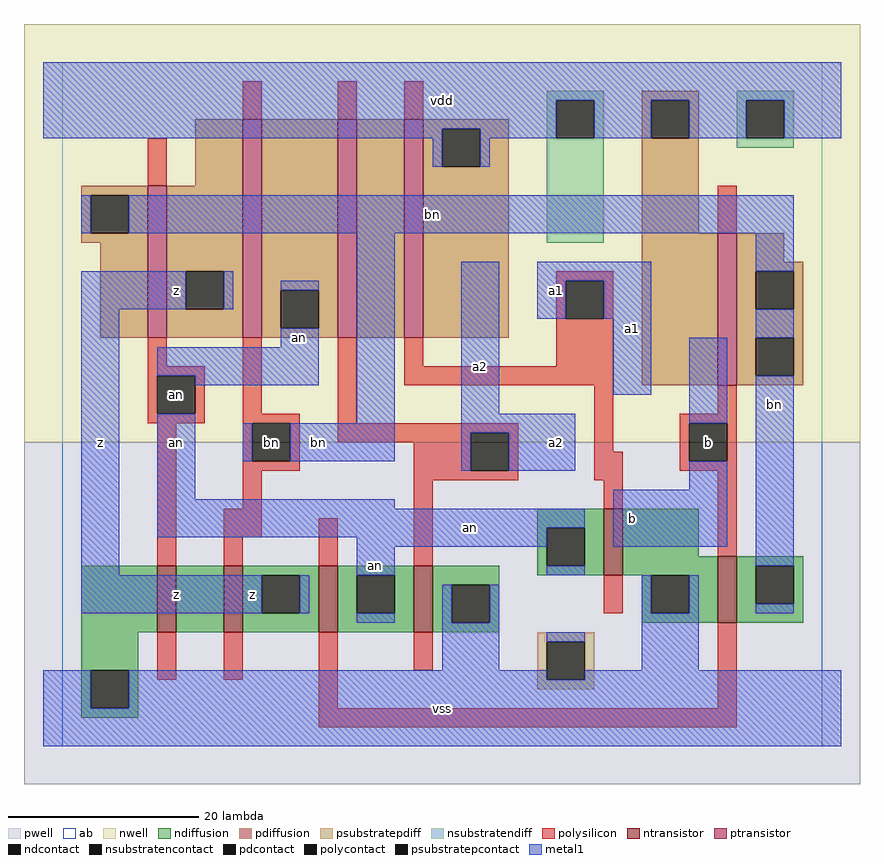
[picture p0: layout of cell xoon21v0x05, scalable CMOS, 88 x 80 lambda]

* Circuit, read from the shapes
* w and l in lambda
.subckt xoon21v0x05 a1 a2 an b bn vdd vss z
M1 n1 an vss vss nfet w=7 l=2
M2 z bn n1 vss nfet w=7 l=2
M3 an b z vss nfet w=7 l=2
M4 vss a2 an vss nfet w=7 l=2
M5 vss a1 an vss nfet w=7 l=2
M6 bn b vss vss nfet w=7 l=2
M7 z an bn vdd pfet w=16 l=2
M8 an bn z vdd pfet w=23 l=2
M9 n2 a2 an vdd pfet w=23 l=2
M10 vdd a1 n2 vdd pfet w=23 l=2
M11 bn b vdd vdd pfet w=16 l=2
.ends

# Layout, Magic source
magic
tech scmos
<< ab >>
rect 0 0 80 72
<< pwell >>
rect -4 -4 84 32
<< nwell >>
rect -4 32 84 76
<< polysilicon >>
rect 19 66 21 70
rect 29 66 31 70
rect 36 66 38 70
rect 9 59 11 64
rect 69 54 71 59
rect 52 49 58 50
rect 52 45 53 49
rect 57 45 58 49
rect 9 40 11 43
rect 9 39 15 40
rect 9 35 10 39
rect 14 35 15 39
rect 9 34 15 35
rect 19 35 21 43
rect 19 34 25 35
rect 10 19 12 34
rect 19 30 20 34
rect 24 30 25 34
rect 29 34 31 43
rect 36 40 38 43
rect 52 40 58 45
rect 36 38 58 40
rect 29 33 48 34
rect 29 32 43 33
rect 19 29 25 30
rect 37 29 43 32
rect 47 29 48 33
rect 19 25 21 29
rect 17 22 21 25
rect 37 28 48 29
rect 56 31 58 38
rect 69 35 71 38
rect 65 34 71 35
rect 56 28 59 31
rect 65 30 66 34
rect 70 30 71 34
rect 65 29 71 30
rect 17 19 19 22
rect 27 19 29 24
rect 37 19 39 28
rect 57 25 59 28
rect 69 20 71 29
rect 57 14 59 18
rect 10 7 12 12
rect 17 7 19 12
rect 27 4 29 12
rect 37 8 39 12
rect 69 4 71 13
rect 27 2 71 4
<< ndiffusion >>
rect 50 23 57 25
rect 50 19 51 23
rect 55 19 57 23
rect 2 12 10 19
rect 12 12 17 19
rect 19 18 27 19
rect 19 14 21 18
rect 25 14 27 18
rect 19 12 27 14
rect 29 18 37 19
rect 29 14 31 18
rect 35 14 37 18
rect 29 12 37 14
rect 39 17 46 19
rect 50 18 57 19
rect 59 20 67 25
rect 59 18 69 20
rect 39 13 41 17
rect 45 13 46 17
rect 61 14 62 18
rect 66 14 69 18
rect 61 13 69 14
rect 71 19 78 20
rect 71 15 73 19
rect 77 15 78 19
rect 71 13 78 15
rect 39 12 46 13
rect 2 8 8 12
rect 2 4 3 8
rect 7 4 8 8
rect 2 3 8 4
<< pdiffusion >>
rect 14 59 19 66
rect 2 58 9 59
rect 2 54 3 58
rect 7 54 9 58
rect 2 53 9 54
rect 4 43 9 53
rect 11 50 19 59
rect 11 46 13 50
rect 17 46 19 50
rect 11 43 19 46
rect 21 48 29 66
rect 21 44 23 48
rect 27 44 29 48
rect 21 43 29 44
rect 31 43 36 66
rect 38 65 47 66
rect 38 61 40 65
rect 44 61 47 65
rect 38 43 47 61
rect 61 68 67 69
rect 61 64 62 68
rect 66 64 67 68
rect 61 54 67 64
rect 61 38 69 54
rect 71 51 76 54
rect 71 50 78 51
rect 71 46 73 50
rect 77 46 78 50
rect 71 43 78 46
rect 71 39 73 43
rect 77 39 78 43
rect 71 38 78 39
<< metal1 >>
rect -2 68 82 72
rect -2 65 52 68
rect -2 64 40 65
rect 39 61 40 64
rect 44 64 52 65
rect 56 64 62 68
rect 66 64 72 68
rect 76 64 82 68
rect 44 61 45 64
rect 2 54 3 58
rect 7 54 77 58
rect 2 46 13 50
rect 17 46 18 50
rect 23 48 27 49
rect 2 18 6 46
rect 23 42 27 44
rect 10 39 27 42
rect 14 38 27 39
rect 10 26 14 35
rect 31 34 35 54
rect 19 30 20 34
rect 24 30 35 34
rect 42 35 46 51
rect 50 49 62 51
rect 50 45 53 49
rect 57 45 62 49
rect 58 37 62 45
rect 73 50 77 54
rect 73 43 77 46
rect 42 33 54 35
rect 42 29 43 33
rect 47 29 54 33
rect 66 34 70 43
rect 66 27 70 30
rect 10 25 35 26
rect 10 23 55 25
rect 10 22 51 23
rect 31 21 51 22
rect 31 18 35 21
rect 58 21 70 27
rect 51 18 55 19
rect 73 19 77 39
rect 2 14 21 18
rect 25 14 26 18
rect 31 13 35 14
rect 40 13 41 17
rect 45 13 46 17
rect 40 8 46 13
rect 61 14 62 18
rect 66 14 67 18
rect 73 14 77 15
rect 51 11 55 12
rect -2 4 3 8
rect 7 7 51 8
rect 61 8 67 14
rect 55 7 82 8
rect 7 4 82 7
rect -2 0 82 4
<< ntransistor >>
rect 10 12 12 19
rect 17 12 19 19
rect 27 12 29 19
rect 37 12 39 19
rect 57 18 59 25
rect 69 13 71 20
<< ptransistor >>
rect 9 43 11 59
rect 19 43 21 66
rect 29 43 31 66
rect 36 43 38 66
rect 69 38 71 54
<< polycontact >>
rect 53 45 57 49
rect 10 35 14 39
rect 20 30 24 34
rect 43 29 47 33
rect 66 30 70 34
<< ndcontact >>
rect 51 19 55 23
rect 21 14 25 18
rect 31 14 35 18
rect 41 13 45 17
rect 62 14 66 18
rect 73 15 77 19
rect 3 4 7 8
<< pdcontact >>
rect 3 54 7 58
rect 13 46 17 50
rect 23 44 27 48
rect 40 61 44 65
rect 62 64 66 68
rect 73 46 77 50
rect 73 39 77 43
<< psubstratepcontact >>
rect 51 7 55 11
<< nsubstratencontact >>
rect 52 64 56 68
rect 72 64 76 68
<< psubstratepdiff >>
rect 50 11 56 12
rect 50 7 51 11
rect 55 7 56 11
rect 50 6 56 7
<< nsubstratendiff >>
rect 51 68 57 69
rect 51 64 52 68
rect 56 64 57 68
rect 51 53 57 64
rect 71 68 77 69
rect 71 64 72 68
rect 76 64 77 68
rect 71 63 77 64
<< labels >>
rlabel polycontact 12 37 12 37 6 an
rlabel polycontact 22 32 22 32 6 bn
rlabel metal1 12 16 12 16 6 z
rlabel metal1 4 32 4 32 6 z
rlabel metal1 12 32 12 32 6 an
rlabel metal1 12 48 12 48 6 z
rlabel metal1 33 19 33 19 6 an
rlabel metal1 20 16 20 16 6 z
rlabel metal1 27 32 27 32 6 bn
rlabel metal1 25 43 25 43 6 an
rlabel metal1 40 4 40 4 6 vss
rlabel metal1 43 23 43 23 6 an
rlabel metal1 52 32 52 32 6 a2
rlabel metal1 44 40 44 40 6 a2
rlabel metal1 52 48 52 48 6 a1
rlabel metal1 40 68 40 68 6 vdd
rlabel metal1 60 24 60 24 6 b
rlabel polycontact 68 32 68 32 6 b
rlabel metal1 60 44 60 44 6 a1
rlabel metal1 39 56 39 56 6 bn
rlabel metal1 75 36 75 36 6 bn
<< end >>
